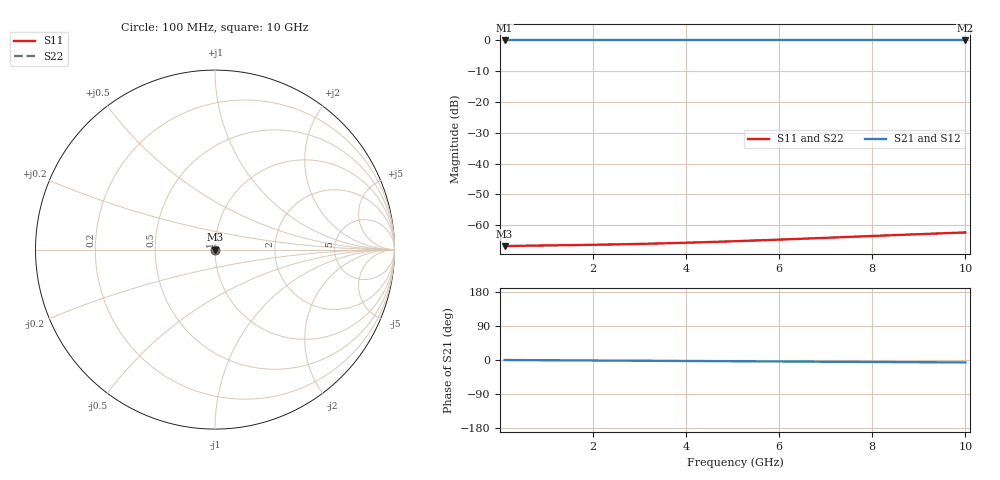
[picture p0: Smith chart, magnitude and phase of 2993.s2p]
# Hz S RI R 50.00
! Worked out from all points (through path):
!   100 points, 100 MHz to 10 GHz, reference 50 ohm
!   highest |S21| = 0.00 dB at 100 MHz (marker M1); lowest = 0.0 dB at 10 GHz (marker M2)
!   lowest |S11| = -66.9 dB at 100 MHz (marker M3), VSWR 1.00, Z = 50 - j0.000553 ohm
!   |S11| at or under -10 dB: start of sweep to end of sweep
!   |S22| runs from -66.9 to -62.4 dB; largest |S21 - S12| = 0
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1e8  0.000454 -5.52e-06  0.9995 -0.00113  0.9995 -0.00113  0.000454 -5.52e-06
2e8  0.000456 -1.11e-05  0.9995 -0.00226  0.9995 -0.00226  0.000456 -1.11e-05
3e8  0.000458 -1.66e-05  0.9995 -0.00339  0.9995 -0.00339  0.000458 -1.66e-05
5e8  0.00046 -2.77e-05  0.9995 -0.00565  0.9995 -0.00565  0.00046 -2.77e-05
7e8  0.000461 -3.9e-05  0.9995 -0.0079  0.9995 -0.0079  0.000461 -3.9e-05
1.4e9  0.000464 -7.89e-05  0.9994 -0.0158  0.9994 -0.0158  0.000464 -7.89e-05
1.8e9  0.000464 -0.000102  0.9993 -0.0203  0.9993 -0.0203  0.000464 -0.000102
2.2e9  0.000464 -0.000126  0.9992 -0.0248  0.9992 -0.0248  0.000464 -0.000126
2.6e9  0.000463 -0.00015  0.9991 -0.0294  0.9991 -0.0294  0.000463 -0.00015
3e9  0.000462 -0.000175  0.9989 -0.0339  0.9989 -0.0339  0.000462 -0.000175
3.4e9  0.00046 -0.0002  0.9988 -0.0384  0.9988 -0.0384  0.00046 -0.0002
3.8e9  0.000458 -0.000226  0.9986 -0.0429  0.9986 -0.0429  0.000458 -0.000226
4.2e9  0.000456 -0.000252  0.9984 -0.0475  0.9984 -0.0475  0.000456 -0.000252
4.6e9  0.000454 -0.000278  0.9981 -0.052  0.9981 -0.052  0.000454 -0.000278
5.1e9  0.000451 -0.000312  0.9978 -0.0577  0.9978 -0.0577  0.000451 -0.000312
5.4e9  0.000449 -0.000332  0.9976 -0.0611  0.9976 -0.0611  0.000449 -0.000332
5.8e9  0.000445 -0.000359  0.9973 -0.0656  0.9973 -0.0656  0.000445 -0.000359
6.2e9  0.000442 -0.000387  0.997 -0.0701  0.997 -0.0701  0.000442 -0.000387
6.7e9  0.000437 -0.000421  0.9966 -0.0758  0.9966 -0.0758  0.000437 -0.000421
8.4e9  0.000419 -0.000539  0.9949 -0.0951  0.9949 -0.0951  0.000419 -0.000539
9.3e9  0.000407 -0.0006  0.9939 -0.1053  0.9939 -0.1053  0.000407 -0.0006
1e10  0.000397 -0.000646  0.993 -0.1133  0.993 -0.1133  0.000397 -0.000646
